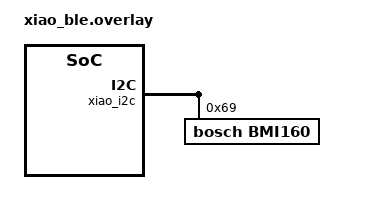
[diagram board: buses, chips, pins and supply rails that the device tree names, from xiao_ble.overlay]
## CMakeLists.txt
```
cmake_minimum_required(VERSION 3.20.0)
find_package(Zephyr REQUIRED HINTS $ENV{ZEPHYR_BASE})
project(accel-logger)
target_sources(app PRIVATE src/main.c)
```

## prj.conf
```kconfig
# Shell
CONFIG_SERIAL=y
CONFIG_SHELL=y
CONFIG_SHELL_BACKEND_SERIAL=y
CONFIG_BASE64=y

# LED etc
CONFIG_GPIO=y

# Flash stuff
CONFIG_FLASH=y
CONFIG_FLASH_MAP=y
CONFIG_FLASH_PAGE_LAYOUT=y
CONFIG_MPU_ALLOW_FLASH_WRITE=y
CONFIG_FILE_SYSTEM=y
CONFIG_FILE_SYSTEM_LITTLEFS=y


# Sensor
CONFIG_I2C=y
CONFIG_SENSOR=y
CONFIG_BMI160=y
CONFIG_BMI160_TRIGGER_NONE=y
# I guess either normal or low power, but i would prefer interrupt per revolution
CONFIG_BMI160_ACCEL_PMU_NORMAL=y
# CONFIG_BMI160_ACCEL_PMU_LOW_POWER is not set
CONFIG_BMI160_ACCEL_RANGE_16G=y
# Sampling freq 25Hz
CONFIG_BMI160_ACCEL_ODR_25=y
# Gyroscope not used
#CONFIG_BMI160_GYRO_PMU_SUSPEND=y


CONFIG_MAIN_STACK_SIZE=2048
CONFIG_SHELL_STACK_SIZE=2048
```

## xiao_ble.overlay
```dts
/ {
    aliases {
        imu-sensor = &bmi160;
        led-red   = &led0;
        led-green = &led1;
        led-blue  = &led2;
    };
};

&xiao_i2c {
    status = "okay";
    bmi160: bmi160@69 {
        compatible = "bosch,bmi160";
        reg = <0x69>;
        status = "okay";
    };
};

&p25q16h {
    partitions {
        compatible = "fixed-partitions";
        #address-cells = <1>;
        #size-cells = <1>;

        qspi_storage: partition@0 {
            label = "qspi_storage";
            reg = <0x00000000 0x00200000>; // 2MB (0x200000 bytes)
        };
    };
};
```

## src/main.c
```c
// filesystem
#include <zephyr/fs/fs.h>
#include <zephyr/fs/littlefs.h>
#include <zephyr/storage/flash_map.h>

// shell
#include <zephyr/shell/shell_uart.h>
#include <zephyr/console/console.h>
#include <zephyr/sys/base64.h>

// timers etc
#include <zephyr/kernel.h>

// for LED
#include <zephyr/drivers/gpio.h>

// for sensor
#include <zephyr/device.h>
#include <zephyr/drivers/sensor.h>

// Logger flag
static atomic_t g_logger_enabled = ATOMIC_INIT(1);
#define TIMEOUT 20
static int g_file_num = 1;


// GPIO definitions
static const struct gpio_dt_spec green_led = GPIO_DT_SPEC_GET(DT_ALIAS(led_green), gpios);
static const struct gpio_dt_spec red_led   = GPIO_DT_SPEC_GET(DT_ALIAS(led_red),   gpios);
static const struct gpio_dt_spec blue_led  = GPIO_DT_SPEC_GET(DT_ALIAS(led_blue),  gpios);

const struct device *const sensor = DEVICE_DT_GET(DT_ALIAS(imu_sensor));


/********************************************************************************
 *  ____  _          _ _                                                 _
 * / ___|| |__   ___| | |   ___ ___  _ __ ___  _ __ ___   __ _ _ __   __| |___
 * \___ \| '_ \ / _ \ | |  / __/ _ \| '_ ` _ \| '_ ` _ \ / _` | '_ \ / _` / __|
 *  ___) | | | |  __/ | | | (_| (_) | | | | | | | | | | | (_| | | | | (_| \__ \
 * |____/|_| |_|\___|_|_|  \___\___/|_| |_| |_|_| |_| |_|\__,_|_| |_|\__,_|___/
 *
 */

static int cmd_ls(const struct shell *shell, size_t argc, char **argv) {
    struct fs_dir_t  dir;
    struct fs_dirent entry;

    fs_dir_t_init(&dir);
    int rc =fs_opendir(&dir, "/lfs");
    if (rc != 0) {
        shell_error(shell, "Cannot open directory, error: %d", rc);
        return -1;
    }

    while ((rc = fs_readdir(&dir, &entry)) == 0) {
        if (entry.name[0] == 0)
            break;
        shell_print(shell, "%s\t%zu bytes", entry.name, entry.size);
    }

    if (rc != 0) {
        shell_error(shell, "Error reading directory: %d", rc);
    }

    fs_closedir(&dir);
    return 0;
}


static int cmd_get(const struct shell *shell, size_t argc, char **argv) {
    if (argc < 2) {
        shell_error(shell, "Usage: get <filename>");
        return -1;
    }

    char filepath[64];
    snprintf(filepath, sizeof(filepath), "/lfs/%s", argv[1]);

    struct fs_file_t file;
    fs_file_t_init(&file);

    if (fs_open(&file, filepath, FS_O_READ) != 0) {
        shell_error(shell, "Cannot open file: %s", argv[1]);
        return -1;
    }
    shell_print(shell, "MIME-Version: 1.0");
    shell_print(shell, "Content-Type: application/octet-stream; name=\"%s\"", argv[1]);
    shell_print(shell, "Content-Transfer-Encoding: base64");
    shell_print(shell, "Content-Disposition: attachment; filename=\"%s\"", argv[1]);
    shell_fprintf(shell, SHELL_NORMAL, "\n"); // Flush

    uint8_t buffer[54]; // 54 bytes * 4/3 = 72 base64 chars
    ssize_t bytes_read;

    while ((bytes_read = fs_read(&file, buffer, sizeof(buffer))) > 0) {
        char b64_buffer[80]; // 72 + some margin
        size_t olen;

        if (base64_encode(b64_buffer, sizeof(b64_buffer), &olen, buffer, bytes_read) == 0) {
            b64_buffer[olen] = '\0';
            shell_print(shell, "%s", b64_buffer);
        } else {
            shell_error(shell, "Base64 encoding failed");
            break;
        }
    }

    if (bytes_read < 0) {
        shell_error(shell, "Read error: %d", (int)bytes_read);
    }

    fs_close(&file);
    return 0;
}


// Shell command: write data to file
static int cmd_write(const struct shell *shell, size_t argc, char **argv)
{
    if (argc < 2) {
        shell_print(shell, "Usage: write <size_kb> [pattern]");
        return -EINVAL;
    }

    int size_kb = atoi(argv[1]);
    uint8_t pattern = (argc > 2) ? atoi(argv[2]) : 0x55; // Default pattern

    if (size_kb <= 0 || size_kb > 64) {
        shell_error(shell, "Size must be 1-64 KB");
        return -EINVAL;
    }

    // Find next available filename
    char filename[32];
    int file_num = 1;
    struct fs_file_t file;

    while (file_num < 1000) {
        snprintf(filename, sizeof(filename), "/lfs/%d.dat", file_num);

        fs_file_t_init(&file);
        int ret = fs_open(&file, filename, FS_O_READ);
        if (ret == 0) {
            fs_close(&file);
            file_num++;
            continue;
        }
        break; // File doesn't exist, use this number
    }

    // Create and write file
    fs_file_t_init(&file);
    int ret = fs_open(&file, filename, FS_O_CREATE | FS_O_WRITE);
    if (ret < 0) {
        shell_error(shell, "Failed to create %s: %d", filename, ret);
        return ret;
    }

    // Write data in chunks
    uint8_t buffer[256];
    memset(buffer, pattern, sizeof(buffer));

    int total_bytes = size_kb * 1024;
    int written = 0;

    shell_print(shell, "Writing %d KB to %s...", size_kb, filename);

    while (written < total_bytes) {
        int chunk_size = MIN(sizeof(buffer), total_bytes - written);

        ssize_t bytes_written = fs_write(&file, buffer, chunk_size);
        if (bytes_written < 0) {
            shell_error(shell, "Write failed: %d", (int)bytes_written);
            fs_close(&file);
            return bytes_written;
        }

        written += bytes_written;

        // Show progress every 1KB
        if (written % 1024 == 0) {
            shell_print(shell, "Progress: %d/%d KB", written/1024, size_kb);
        }
    }

    fs_close(&file);
    shell_print(shell, "Successfully wrote %s (%d bytes)", filename, written);

    return 0;
}

static int cmd_logger(const struct shell *shell, size_t argc, char **argv)
{
    if (argc != 2) {
        shell_print(shell, "Usage: logger <on|off>");
        return -EINVAL;
    }

    if (strcmp(argv[1], "on") == 0) {
        atomic_set(&g_logger_enabled, 1);
        shell_print(shell, "Logger ON");
    } else if (strcmp(argv[1], "off") == 0) {
        atomic_set(&g_logger_enabled, 0);
        shell_print(shell, "Logger OFF");
    } else {
        shell_error(shell, "Invalid argument: %s", argv[1]);
        return -EINVAL;
    }

    return 0;
}

SHELL_CMD_REGISTER(ls,     NULL, "List files", cmd_ls);
SHELL_CMD_REGISTER(get,    NULL, "Get file content", cmd_get);

SHELL_CMD_REGISTER(logger, NULL, "Toggle logger: logger <on|off>", cmd_logger);

SHELL_CMD_REGISTER(write,  NULL, "Write test file", cmd_write); // temporary

struct log_entry_t {
    int64_t uptime_ms;
    int16_t accel_x;
    int16_t accel_y;
    int16_t gyro_z;
    int16_t padding;
};

static struct log_entry_t log_entry;

void logger_thread(void) {
    struct fs_file_t file;
    char filename[32];
    snprintf(filename, sizeof(filename), "/lfs/%d.dat", g_file_num);
    printk("Filename %s will be used.\n", filename);
    printk("Sleeping\n");
    k_sleep(K_MSEC(1000*TIMEOUT));
    printk("Entering logging phase\n");

    memset(&file, 0, sizeof(file));
    fs_file_t_init(&file);
    k_sleep(K_MSEC(1000));
    gpio_pin_set_dt(&blue_led, 1);
    // The following command hangs
    int ret = fs_open(&file, filename, FS_O_CREATE | FS_O_WRITE);
    //int ret = 0;
    if (ret < 0) {
        printk("Failed to create %s: %d\n", filename, ret);
        gpio_pin_set_dt(&red_led, 1);
        return;
    }
    printk("Created %s\n", filename);
    gpio_pin_set_dt(&green_led, 0);

    int counter = 0;
    struct sensor_value accel_xyz[3];
    struct sensor_value gyro_z;
    while(1) {
        k_sleep(K_MSEC(100));
        ret = sensor_sample_fetch(sensor);
        if (ret >= 0) {
            ret = sensor_channel_get(sensor, SENSOR_CHAN_ACCEL_XYZ, accel_xyz);
        }
        if (ret >= 0) {
            ret = sensor_channel_get(sensor, SENSOR_CHAN_GYRO_Z, &gyro_z);
        }
        if (ret >= 0 ) {
            // 16 bytes, 20 times per second =

            log_entry.uptime_ms = k_uptime_get();
            log_entry.accel_x = accel_xyz[0].val1 * 1000 + accel_xyz[0].val2 / 1000;
            log_entry.accel_y = accel_xyz[1].val1 * 1000 + accel_xyz[1].val2 / 1000;
            log_entry.gyro_z  = gyro_z.val1 * 1000 + gyro_z.val2 / 1000; // mrad/s
            log_entry.padding = 0;
            printk("time=%lld ,ax=%d ,ay=%d, gz=%d mrad/s\n", log_entry.uptime_ms, log_entry.accel_x, log_entry.accel_y, log_entry.gyro_z );

            ret = fs_write(&file, (const void *)&log_entry, sizeof(struct log_entry_t));
            if (ret < 0) {
                 gpio_pin_set_dt(&red_led, 1);
            }
            if (atomic_get(&g_logger_enabled)) {
                gpio_pin_toggle_dt(&blue_led);
            }
        }

        counter++;
#if 1
        if (counter % 20 == 0) {
            int sync_ret = fs_sync(&file);
            if (sync_ret < 0) {
                printk("fs_sync failed: %d\n", sync_ret);
            } else {
                printk("Sync\n");
            }
        } else {
        }
#endif
    }
}

//K_THREAD_DEFINE(logger_thread_id, 1024, logger_thread, NULL, NULL, NULL, 5, 0, 0);


static int mount_fs() {
   // Mount filesystem
    printk("Checking flash area...\n");
    const struct flash_area *fa;
    int rc;
    rc = flash_area_open(FIXED_PARTITION_ID(qspi_storage), &fa);
    if (rc != 0) {
        printk("Flash area open failed: %d\n", rc);
        return rc;
    }
    flash_area_close(fa);
    printk("Flash area OK\n");

    // Mount filesystem
    FS_LITTLEFS_DECLARE_DEFAULT_CONFIG(storage);
    static struct fs_mount_t lfs_mount = {
        .type = FS_LITTLEFS,
        .fs_data = &storage,
        .storage_dev = (void *)FIXED_PARTITION_ID(qspi_storage),
        .mnt_point = "/lfs",
    };

    printk("Mounting filesystem...\n");
    rc = fs_mount(&lfs_mount);
    if (rc != 0) {
        printk("Failed to mount filesystem: %d\n", rc);
        gpio_pin_set_dt(&red_led, 1);
        return rc;
    }

    printk("Filesystem mounted successfully\n");
    return 0;
}

#if 0

// This hangs
static int find_free_filenum() {
    gpio_pin_set_dt(&blue_led, 1);
    char filename[32];
    struct fs_dirent stat;
    while (g_file_num < 100) {
        snprintf(filename, sizeof(filename), "/lfs/%d.dat", g_file_num);
        int ret = fs_stat(filename, &stat);
        if (ret < 0) {
            // File doesn't exist, we found our free number
            gpio_pin_set_dt(&blue_led, 0);
            return 0;
        }
        g_file_num++;
    }
    gpio_pin_set_dt(&blue_led, 0);
    printk("No unused file found.");
    return -1;
}

#else

static int find_free_filenum() {
    char filename[32];
    struct fs_file_t file;
    while (g_file_num < 100) {
        snprintf(filename, sizeof(filename), "/lfs/%d.dat", g_file_num);
        fs_file_t_init(&file);
        int ret = fs_open(&file, filename, FS_O_READ);
        if (ret < 0)
            return 0; // file does not exist
        fs_close(&file);
        g_file_num++;
    }
    return -1;
}

#endif


int main(void)
{
    // Initialize GPIO
    if (!gpio_is_ready_dt(&red_led) || !gpio_is_ready_dt(&green_led) || !gpio_is_ready_dt(&blue_led)) {
        printk("LED device not ready\n");
        return -1;
    }
    gpio_pin_configure_dt(&green_led, GPIO_OUTPUT_INACTIVE);
    gpio_pin_configure_dt(&red_led,   GPIO_OUTPUT_INACTIVE);
    gpio_pin_configure_dt(&blue_led,  GPIO_OUTPUT_INACTIVE);

     if (!device_is_ready(sensor)) {
        printk("Sensor %s not ready!\n", sensor->name);
        gpio_pin_set_dt(&red_led,  1);
        return -1;
    } else {
        printk("Sensor OK\n");
    }

    int ret = mount_fs();
    if(ret) {
        gpio_pin_set_dt(&red_led,  1);
        return -1;
    }
    ret = find_free_filenum();
    if (ret < 0) {        
        gpio_pin_set_dt(&red_led,  1);
        return -1;
    }
    
    gpio_pin_set_dt(&green_led,  1);

    printk("Type logger off in %d seconds to disable logger\n", TIMEOUT);

    // NOTE: here we have shell thread and logger thread running,
    //       program won't exit

    logger_thread(); /// why not, we have shell thread
    return 0;
}
```
